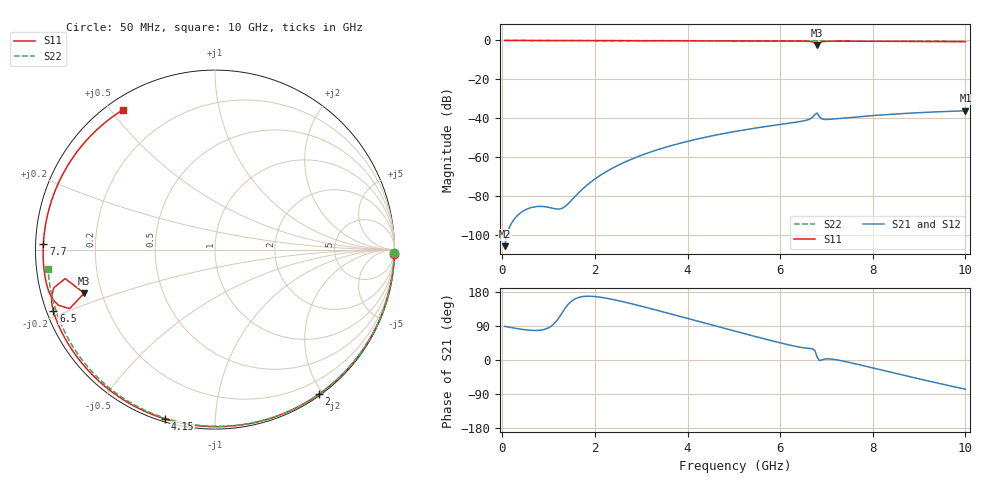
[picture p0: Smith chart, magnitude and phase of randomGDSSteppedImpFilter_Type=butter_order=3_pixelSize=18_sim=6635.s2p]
! freq	dB(S11)	phase(S11)	dB(S12)	phase(S12)
!  dB(S21)	phase(S21)	dB(S22)	phase(S22)
!S-par simulation data
#  GHz  S  DB  R 50
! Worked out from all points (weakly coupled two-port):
!   200 points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, 50 MHz to 10 GHz, reference 50 ohm
!   highest |S21| = -36.21 dB at 10 GHz (marker M1); lowest = -105.9 dB at 50 MHz (marker M2)
!   lowest |S11| = -2.3 dB at 6.8 GHz (marker M3), VSWR 7.62, Z = 6.73 - j7.96 ohm
!   |S11| at or under -10 dB: nowhere
!   |S22| runs from -0.6 to 0.0 dB; largest |S21 - S12| = 0
!   S11 on the Smith chart (normalised r, x): 50 MHz: 0, -81; 2 GHz: 0.02, -1.95; 4.15 GHz: 0.01, -0.75; 6.5 GHz: 0.02, -0.18; 7.7 GHz: 0.02, +0.02; 10 GHz: 0.04, +0.54
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0.05  -0.00 -1.4  -105.92 88.9  -105.92 88.9  -0.00 -1.0
0.75  -0.03 -20.9  -85.49 78.0  -85.49 78.0  -0.02 -15.0
1.55  -0.05 -42.6  -80.87 159.8  -80.87 159.8  -0.04 -30.7
1.6  -0.06 -43.9  -79.62 162.9  -79.62 162.9  -0.04 -31.7
1.75  -0.06 -47.9  -76.14 167.6  -76.14 167.6  -0.04 -34.6
2  -0.07 -54.4  -71.33 167.4  -71.33 167.4  -0.05 -39.4
2.6  -0.09 -69.7  -63.14 154.0  -63.14 154.0  -0.07 -50.7
3.4  -0.11 -89.1  -55.91 129.3  -55.91 129.3  -0.09 -65.4
4.15  -0.14 -106.5  -51.09 104.7  -51.09 104.7  -0.11 -78.7
5.05  -0.19 -126.5  -46.76 75.2  -46.76 75.2  -0.14 -94.1
5.85  -0.24 -143.9  -43.75 49.9  -43.75 49.9  -0.18 -107.3
6.5  -0.32 -159.1  -41.44 32.3  -41.44 32.3  -0.22 -117.7
6.7  -0.71 -166.7  -39.51 29.7  -39.51 29.7  -0.24 -120.9
6.75  -1.41 -169.1  -38.07 25.0  -38.07 25.0  -0.24 -121.7
6.8  -2.29 -161.6  -37.41 7.5  -37.41 7.5  -0.24 -122.5
6.85  -1.17 -157.9  -39.33 -1.5  -39.33 -1.5  -0.25 -123.3
6.95  -0.50 -162.7  -40.66 2.2  -40.66 2.2  -0.25 -124.9
7.2  -0.37 -170.2  -40.33 0.8  -40.33 0.8  -0.27 -128.8
7.7  -0.38 178.2  -39.25 -12.2  -39.25 -12.2  -0.31 -136.7
8.35  -0.44 163.5  -38.09 -31.0  -38.09 -31.0  -0.37 -146.9
9.15  -0.52 144.8  -37.01 -54.0  -37.01 -54.0  -0.46 -159.6
10  -0.61 123.5  -36.21 -77.0  -36.21 -77.0  -0.57 -173.5
